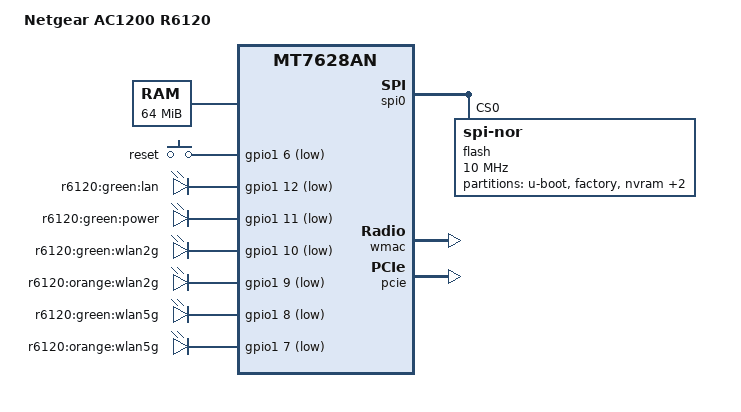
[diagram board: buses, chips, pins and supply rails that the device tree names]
/dts-v1/;

#include "mt7628an.dtsi"

#include <dt-bindings/gpio/gpio.h>
#include <dt-bindings/input/input.h>

/ {
	compatible = "netgear,r6120", "mediatek,mt7628an-soc";
	model = "Netgear AC1200 R6120";

	aliases {
		led-boot = &led_power;
		led-failsafe = &led_power;
		led-running = &led_power;
		led-upgrade = &led_power;
	};

	memory@0 {
		device_type = "memory";
		reg = <0x0 0x4000000>;
	};

	gpio-keys-polled {
		compatible = "gpio-keys-polled";
		poll-interval = <20>;

		reset {
			label = "reset";
			gpios = <&gpio1 6 GPIO_ACTIVE_LOW>;
			linux,code = <KEY_RESTART>;
		};
	};

	gpio-leds {
		compatible = "gpio-leds";

		lan {
			label = "r6120:green:lan";
			gpios = <&gpio1 12 GPIO_ACTIVE_LOW>;
		};

		led_power: power {
			label = "r6120:green:power";
			gpios = <&gpio1 11 GPIO_ACTIVE_LOW>;
		};

		wlan {
			label = "r6120:green:wlan2g";
			gpios = <&gpio1 10 GPIO_ACTIVE_LOW>;
		};

		wlan_orange {
			label = "r6120:orange:wlan2g";
			gpios = <&gpio1 9 GPIO_ACTIVE_LOW>;
		};

		wlan5 {
			label = "r6120:green:wlan5g";
			gpios = <&gpio1 8 GPIO_ACTIVE_LOW>;
		};

		wlan5_orange {
			label = "r6120:orange:wlan5g";
			gpios = <&gpio1 7 GPIO_ACTIVE_LOW>;
		};
	};
};

&pinctrl {
	state_default: pinctrl0 {
		gpio {
			ralink,group = "p0led_an", "p1led_an", "p2led_an",
				       "p3led_an", "p4led_an", "wdt", "wled_an";
			ralink,function = "gpio";
		};
	};
};

&spi0 {
	status = "okay";

	flash@0 {
		compatible = "jedec,spi-nor";
		reg = <0>;
		spi-max-frequency = <10000000>;
		m25p,chunked-io = <32>;

		partitions {
			compatible = "fixed-partitions";
			#address-cells = <1>;
			#size-cells = <1>;

			partition@0 {
				label = "u-boot";
				reg = <0x0 0x40000>;
				read-only;
			};

			factory: partition@40000 {
				label = "factory";
				reg = <0x40000 0x20000>;
				read-only;
			};

			nvram: partition@60000 {
				label = "nvram";
				reg = <0x60000 0x30000>;
				read-only;
			};

			partition@90000 {
				compatible = "denx,uimage";
				label = "firmware";
				reg = <0x90000 0xf60000>;
			};

			partition@ff0000 {
				label = "reserved";
				reg = <0xff0000 0x10000>;
				read-only;
			};
		};
	};
};

&wmac {
	status = "okay";
	mtd-mac-address = <&nvram 0x100b0>;
	mediatek,mtd-eeprom = <&factory 0x20000>;
};

&ethernet {
	mtd-mac-address = <&nvram 0x100b0>;
};

&pcie {
	status = "okay";
};

&pcie0 {
	wifi@0,0 {
		reg = <0x0000 0 0 0 0>;
		mediatek,mtd-eeprom = <&factory 0x28000>;
		ieee80211-freq-limit = <5000000 6000000>;
		mtd-mac-address = <&nvram 0x100b0>;
		mtd-mac-address-increment = <(2)>;
	};
};
